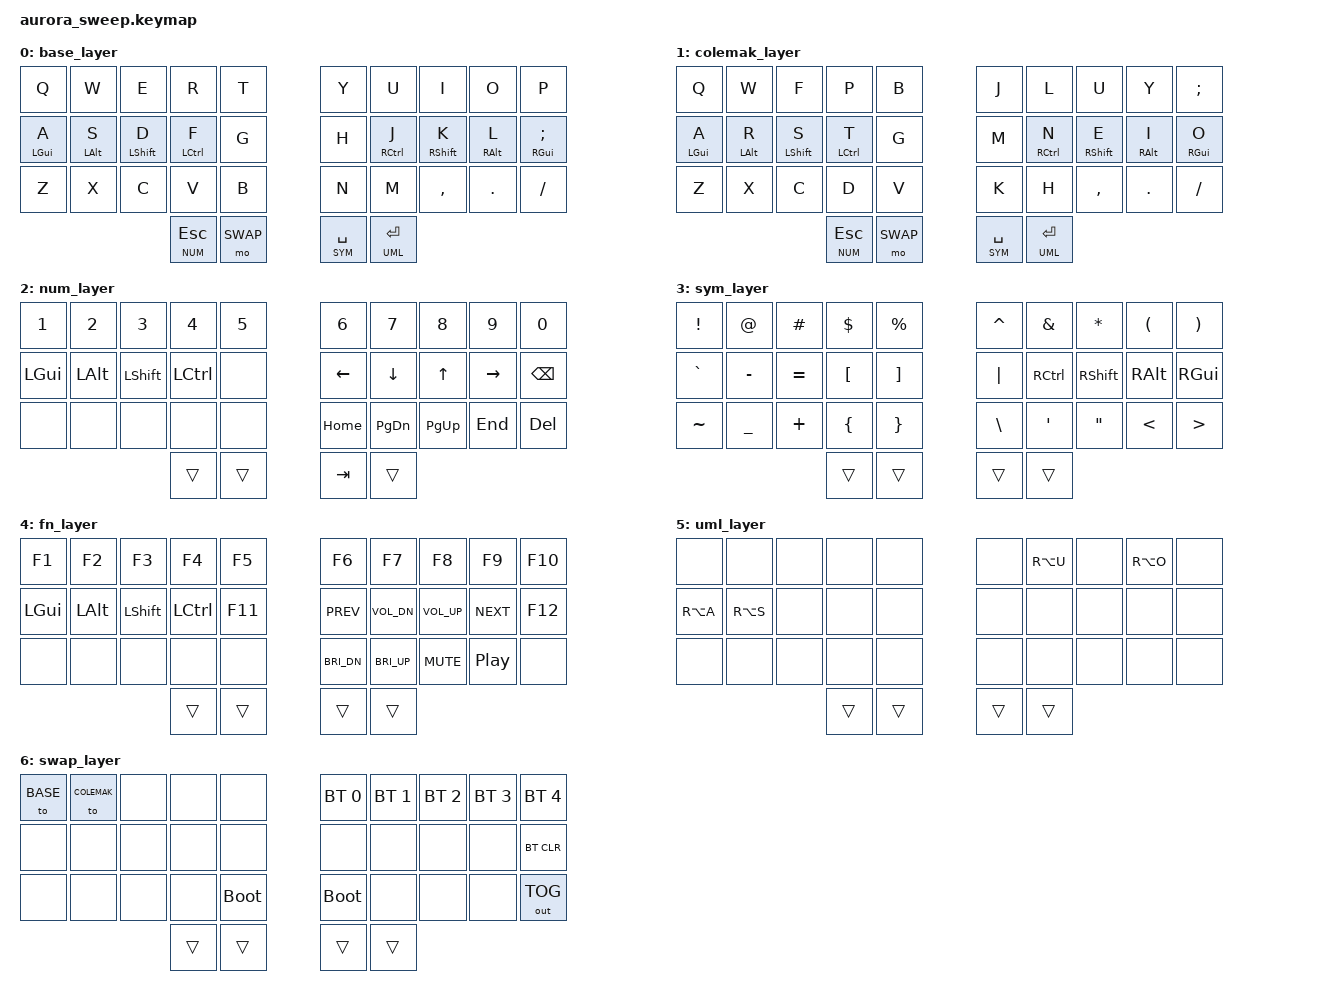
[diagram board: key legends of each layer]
/*
 * Aurora Sweep ZMK Config
 * 34-key split keyboard with home row mods
 * Using urob's ZMK helpers
 */

#include <behaviors.dtsi>
#include <dt-bindings/zmk/keys.h>
#include <dt-bindings/zmk/bt.h>
#include <dt-bindings/zmk/outputs.h>

// Import urob's helpers
#include "zmk-helpers/helper.h"
#include "zmk-helpers/key-labels/34-key.h"

/* Layer definitions */
#define BASE 0
#define COLEMAK 1
#define NUM 2
#define SYM 3
#define FN 4
#define UML 5
#define SWAP 6

/* Behavior configuration */
&sk {
    release-after-ms = <2000>;
    quick-release;
};

&sl {
    release-after-ms = <2000>;
};

/* Home row mods - using urob's timeless homerow mods */
#define KEYS_L LT0 LT1 LT2 LT3 LT4 LM0 LM1 LM2 LM3 LM4 LB0 LB1 LB2 LB3 LB4  // left hand
#define KEYS_R RT0 RT1 RT2 RT3 RT4 RM0 RM1 RM2 RM3 RM4 RB0 RB1 RB2 RB3 RB4  // right hand
#define THUMBS LH1 LH0 RH0 RH1                                               // thumbs

/* Home row mods - macOS (GACS) */
ZMK_BEHAVIOR(hml, hold_tap,
    flavor = "balanced";
    tapping-term-ms = <280>;
    quick-tap-ms = <175>;
    require-prior-idle-ms = <150>;
    bindings = <&kp>, <&kp>;
    hold-trigger-key-positions = <KEYS_R THUMBS>;
    hold-trigger-on-release;
)

ZMK_BEHAVIOR(hmr, hold_tap,
    flavor = "balanced";
    tapping-term-ms = <280>;
    quick-tap-ms = <175>;
    require-prior-idle-ms = <150>;
    bindings = <&kp>, <&kp>;
    hold-trigger-key-positions = <KEYS_L THUMBS>;
    hold-trigger-on-release;
)

/* Layer tap for thumb keys */
ZMK_BEHAVIOR(lt_num, hold_tap,
    flavor = "balanced";
    tapping-term-ms = <200>;
    quick-tap-ms = <175>;
    bindings = <&mo>, <&kp>;
)

ZMK_BEHAVIOR(lt_sym, hold_tap,
    flavor = "balanced";
    tapping-term-ms = <200>;
    quick-tap-ms = <175>;
    bindings = <&mo>, <&kp>;
)

ZMK_BEHAVIOR(lt_uml, hold_tap,
    flavor = "balanced";
    tapping-term-ms = <200>;
    quick-tap-ms = <175>;
    bindings = <&mo>, <&kp>;
)

/ {
    keymap {
        compatible = "zmk,keymap";

        /* BASE - German QWERTY with home row mods */
        base_layer {
            bindings = <
            // ╭─────────────┬─────────────┬─────────────┬─────────────┬─────────────╮   ╭─────────────┬─────────────┬─────────────┬─────────────┬─────────────╮
                 &kp Q         &kp W         &kp E         &kp R         &kp T             &kp Y         &kp U         &kp I         &kp O         &kp P
            // ├─────────────┼─────────────┼─────────────┼─────────────┼─────────────┤   ├─────────────┼─────────────┼─────────────┼─────────────┼─────────────┤
                 &hml LGUI A   &hml LALT S   &hml LSHFT D  &hml LCTRL F  &kp G             &kp H         &hmr RCTRL J  &hmr RSHFT K  &hmr RALT L   &hmr RGUI SEMI
            // ├─────────────┼─────────────┼─────────────┼─────────────┼─────────────┤   ├─────────────┼─────────────┼─────────────┼─────────────┼─────────────┤
                 &kp Z         &kp X         &kp C         &kp V         &kp B             &kp N         &kp M         &kp COMMA     &kp DOT       &kp FSLH
            // ╰─────────────┴─────────────┴─────────────┼─────────────┼─────────────┤   ├─────────────┼─────────────┼─────────────┴─────────────┴─────────────╯
                                             &lt_num NUM ESC  &mo SWAP       &lt_sym SYM SPACE  &lt_uml UML RET
            //                             ╰─────────────┴─────────────╯   ╰─────────────┴─────────────╯
            >;
        };

        /* COLEMAK-DH with home row mods */
        colemak_layer {
            bindings = <
            // ╭─────────────┬─────────────┬─────────────┬─────────────┬─────────────╮   ╭─────────────┬─────────────┬─────────────┬─────────────┬─────────────╮
                 &kp Q         &kp W         &kp F         &kp P         &kp B             &kp J         &kp L         &kp U         &kp Y         &kp SEMI
            // ├─────────────┼─────────────┼─────────────┼─────────────┼─────────────┤   ├─────────────┼─────────────┼─────────────┼─────────────┼─────────────┤
                 &hml LGUI A   &hml LALT R   &hml LSHFT S  &hml LCTRL T  &kp G             &kp M         &hmr RCTRL N  &hmr RSHFT E  &hmr RALT I   &hmr RGUI O
            // ├─────────────┼─────────────┼─────────────┼─────────────┼─────────────┤   ├─────────────┼─────────────┼─────────────┼─────────────┼─────────────┤
                 &kp Z         &kp X         &kp C         &kp D         &kp V             &kp K         &kp H         &kp COMMA     &kp DOT       &kp FSLH
            // ╰─────────────┴─────────────┴─────────────┼─────────────┼─────────────┤   ├─────────────┼─────────────┼─────────────┴─────────────┴─────────────╯
                                             &lt_num NUM ESC  &mo SWAP       &lt_sym SYM SPACE  &lt_uml UML RET
            //                             ╰─────────────┴─────────────╯   ╰─────────────┴─────────────╯
            >;
        };

        /* NUM - Numbers and navigation */
        num_layer {
            bindings = <
            // ╭─────────────┬─────────────┬─────────────┬─────────────┬─────────────╮   ╭─────────────┬─────────────┬─────────────┬─────────────┬─────────────╮
                 &kp N1        &kp N2        &kp N3        &kp N4        &kp N5            &kp N6        &kp N7        &kp N8        &kp N9        &kp N0
            // ├─────────────┼─────────────┼─────────────┼─────────────┼─────────────┤   ├─────────────┼─────────────┼─────────────┼─────────────┼─────────────┤
                 &kp LGUI      &kp LALT      &kp LSHFT     &kp LCTRL     &none             &kp LEFT      &kp DOWN      &kp UP        &kp RIGHT     &kp BSPC
            // ├─────────────┼─────────────┼─────────────┼─────────────┼─────────────┤   ├─────────────┼─────────────┼─────────────┼─────────────┼─────────────┤
                 &none         &none         &none         &none         &none             &kp HOME      &kp PG_DN     &kp PG_UP     &kp END       &kp DEL
            // ╰─────────────┴─────────────┴─────────────┼─────────────┼─────────────┤   ├─────────────┼─────────────┼─────────────┴─────────────┴─────────────╯
                                                           &trans        &trans            &kp TAB       &trans
            //                             ╰─────────────┴─────────────╯   ╰─────────────┴─────────────╯
            >;
        };

        /* SYM - Programming symbols */
        sym_layer {
            bindings = <
            // ╭─────────────┬─────────────┬─────────────┬─────────────┬─────────────╮   ╭─────────────┬─────────────┬─────────────┬─────────────┬─────────────╮
                 &kp EXCL      &kp AT        &kp HASH      &kp DLLR      &kp PRCNT         &kp CARET     &kp AMPS      &kp STAR      &kp LPAR      &kp RPAR
            // ├─────────────┼─────────────┼─────────────┼─────────────┼─────────────┤   ├─────────────┼─────────────┼─────────────┼─────────────┼─────────────┤
                 &kp GRAVE     &kp MINUS     &kp EQUAL     &kp LBKT      &kp RBKT          &kp PIPE      &kp RCTRL     &kp RSHFT     &kp RALT      &kp RGUI
            // ├─────────────┼─────────────┼─────────────┼─────────────┼─────────────┤   ├─────────────┼─────────────┼─────────────┼─────────────┼─────────────┤
                 &kp TILDE     &kp UNDER     &kp PLUS      &kp LBRC      &kp RBRC          &kp BSLH      &kp SQT       &kp DQT       &kp LT        &kp GT
            // ╰─────────────┴─────────────┴─────────────┼─────────────┼─────────────┤   ├─────────────┼─────────────┼─────────────┴─────────────┴─────────────╯
                                                           &trans        &trans            &trans        &trans
            //                             ╰─────────────┴─────────────╯   ╰─────────────┴─────────────╯
            >;
        };

        /* FN - Function keys and media */
        fn_layer {
            bindings = <
            // ╭─────────────┬─────────────┬─────────────┬─────────────┬─────────────╮   ╭─────────────┬─────────────┬─────────────┬─────────────┬─────────────╮
                 &kp F1        &kp F2        &kp F3        &kp F4        &kp F5            &kp F6        &kp F7        &kp F8        &kp F9        &kp F10
            // ├─────────────┼─────────────┼─────────────┼─────────────┼─────────────┤   ├─────────────┼─────────────┼─────────────┼─────────────┼─────────────┤
                 &kp LGUI      &kp LALT      &kp LSHFT     &kp LCTRL     &kp F11           &kp C_PREV    &kp C_VOL_DN  &kp C_VOL_UP  &kp C_NEXT    &kp F12
            // ├─────────────┼─────────────┼─────────────┼─────────────┼─────────────┤   ├─────────────┼─────────────┼─────────────┼─────────────┼─────────────┤
                 &none         &none         &none         &none         &none             &kp C_BRI_DN  &kp C_BRI_UP  &kp C_MUTE    &kp C_PP      &none
            // ╰─────────────┴─────────────┴─────────────┼─────────────┼─────────────┤   ├─────────────┼─────────────┼─────────────┴─────────────┴─────────────╯
                                                           &trans        &trans            &trans        &trans
            //                             ╰─────────────┴─────────────╯   ╰─────────────┴─────────────╯
            >;
        };

        /* UML - German umlauts */
        uml_layer {
            bindings = <
            // ╭─────────────┬─────────────┬─────────────┬─────────────┬─────────────╮   ╭─────────────┬─────────────┬─────────────┬─────────────┬─────────────╮
                 &none         &none         &none         &none         &none             &none         &kp RA(U)     &none         &kp RA(O)     &none
            // ├─────────────┼─────────────┼─────────────┼─────────────┼─────────────┤   ├─────────────┼─────────────┼─────────────┼─────────────┼─────────────┤
                 &kp RA(A)     &kp RA(S)     &none         &none         &none             &none         &none         &none         &none         &none
            // ├─────────────┼─────────────┼─────────────┼─────────────┼─────────────┤   ├─────────────┼─────────────┼─────────────┼─────────────┼─────────────┤
                 &none         &none         &none         &none         &none             &none         &none         &none         &none         &none
            // ╰─────────────┴─────────────┴─────────────┼─────────────┼─────────────┤   ├─────────────┼─────────────┼─────────────┴─────────────┴─────────────╯
                                                           &trans        &trans            &trans        &trans
            //                             ╰─────────────┴─────────────╯   ╰─────────────┴─────────────╯
            >;
        };

        /* SWAP - Layer switching and Bluetooth */
        swap_layer {
            bindings = <
            // ╭─────────────┬─────────────┬─────────────┬─────────────┬─────────────╮   ╭─────────────┬─────────────┬─────────────┬─────────────┬─────────────╮
                 &to BASE      &to COLEMAK   &none         &none         &none             &bt BT_SEL 0  &bt BT_SEL 1  &bt BT_SEL 2  &bt BT_SEL 3  &bt BT_SEL 4
            // ├─────────────┼─────────────┼─────────────┼─────────────┼─────────────┤   ├─────────────┼─────────────┼─────────────┼─────────────┼─────────────┤
                 &none         &none         &none         &none         &none             &none         &none         &none         &none         &bt BT_CLR
            // ├─────────────┼─────────────┼─────────────┼─────────────┼─────────────┤   ├─────────────┼─────────────┼─────────────┼─────────────┼─────────────┤
                 &none         &none         &none         &none         &bootloader       &bootloader   &none         &none         &none         &out OUT_TOG
            // ╰─────────────┴─────────────┴─────────────┼─────────────┼─────────────┤   ├─────────────┼─────────────┼─────────────┴─────────────┴─────────────╯
                                                           &trans        &trans            &trans        &trans
            //                             ╰─────────────┴─────────────╯   ╰─────────────┴─────────────╯
            >;
        };
    };
};
